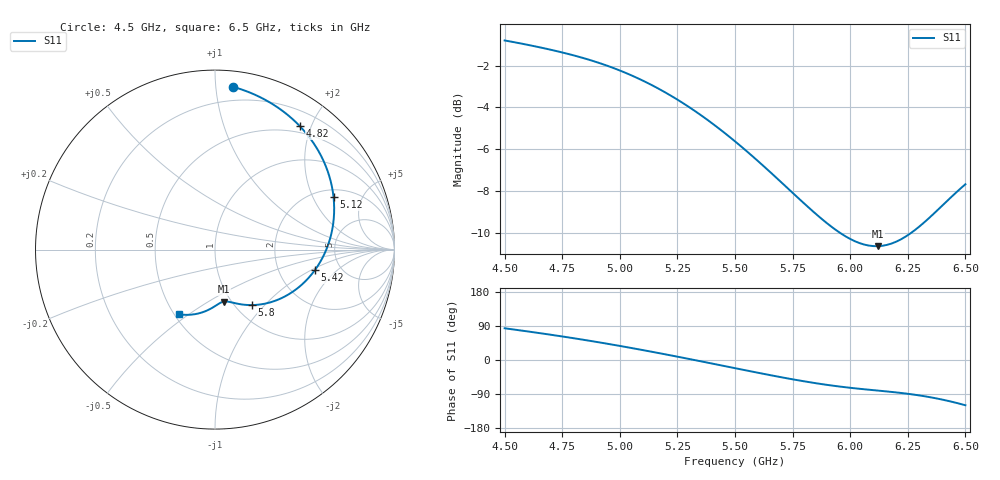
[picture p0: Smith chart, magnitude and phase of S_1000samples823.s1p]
! TOUCHSTONE file generated by CST MICROWAVE STUDIO
! Date and time: Sat Oct 29 12:30:28 2022
! Project name: L.cst
! Parameters = {Di=1.27; Epsilon_r=1.56; InnerDiameter=1.27; Length=2; Lf=10; Lg=60; OuterConductorThickness=0.2921; OuterDiameter=3.6; Wf=3; Wp=41.2; de=1.5; df=6.8; g=0.8; gx=1.36317; gy=3.21466; h=2.34; hf=1.524; px=10.7207; py=10.0794; w=9.7; wx=9.35754; wy=6.86472}
! Header version: 2018
! Port assignment regex: !\s*Touchstone port\s*([0-9]+)\s*=\s*(CST MWS port|CST DS port)\s*([0-9]+|Zmin|Zmax)\s*\(\"(.*)\"\)(\s*mode\s*([0-9]+))?.*
! Touchstone port assignment:
! Touchstone port 1 = CST MWS port 1 ("")
# GHz S DB R 50
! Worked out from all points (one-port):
!   101 points, 4.5 GHz to 6.5 GHz, reference 50 ohm
!   lowest |S11| = -10.6 dB at 6.12 GHz (marker M1), VSWR 1.83, Z = 46.1 - j29.3 ohm
!   |S11| at or under -10 dB: 5.956 GHz to 6.265 GHz (308.5 MHz wide, 5.05 % of centre)
!   S11 on the Smith chart (normalised r, x): 4.5 GHz: 0.10, +1.11; 4.82 GHz: 0.40, +1.83; 5.12 GHz: 2.38, +2.91; 5.42 GHz: 3.21, -1.10; 5.8 GHz: 1.19, -0.85; 6.5 GHz: 0.53, -0.46
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4.5  -0.80 83.7
4.56  -0.92 78.8
4.64  -1.10 72.0
4.76  -1.40 61.2
4.82  -1.57 55.5
4.92  -1.91 45.5
5  -2.23 37.1
5.06  -2.51 30.6
5.12  -2.83 23.9
5.18  -3.17 17.0
5.26  -3.70 7.6
5.34  -4.28 -2.0
5.42  -4.92 -11.8
5.5  -5.62 -21.6
5.56  -6.18 -28.9
5.62  -6.77 -36.1
5.68  -7.37 -43.1
5.76  -8.19 -52.0
5.8  -8.59 -56.2
5.9  -9.55 -65.7
6  -10.29 -73.3
6.12  -10.64 -80.7
6.18  -10.51 -84.3
6.26  -10.04 -90.0
6.32  -9.51 -95.4
6.38  -8.90 -102.0
6.44  -8.27 -110.1
6.5  -7.68 -119.4
